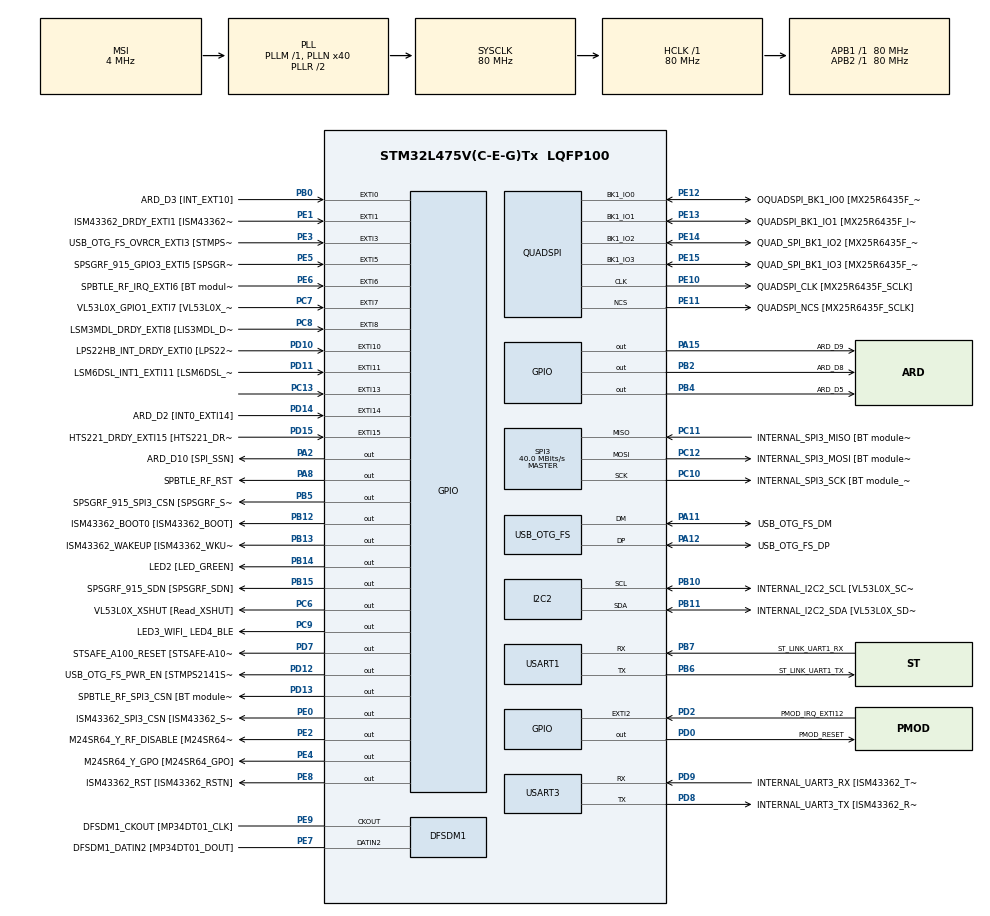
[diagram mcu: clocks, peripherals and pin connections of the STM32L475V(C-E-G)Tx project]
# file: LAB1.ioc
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FREERTOS.BinarySemaphores01=shortpress,Dynamic,NULL,Depleted;timerforblink,Dynamic,NULL,Depleted;longpress,Dynamic,NULL,Depleted;pressdetect,Dynamic,NULL,Depleted
FREERTOS.CountingSemaphores01=myCountingSem01,2,Dynamic,NULL,0
FREERTOS.Mutexes01=blinking,Dynamic,NULL,Available
FREERTOS.Queues01=pressforblink,1,uint16_t,0,Dynamic,NULL,NULL
FREERTOS.Tasks01=PressBlink,24,128,StartPressBlink,Default,NULL,Dynamic,NULL,NULL;timerBlink,8,128,StartTimerBlink,Default,NULL,Dynamic,NULL,NULL;detectButton,8,128,StartDetectButton,Default,NULL,Dynamic,NULL,NULL
I2C2.Timing=0x10D19CE4
Mcu.Family=STM32L4
Mcu.Name=STM32L475V(C-E-G)Tx
Mcu.Package=LQFP100
NVIC.EXTI15_10_IRQn=true\:5\:0\:true\:false\:true\:true\:true\:true\:true
NVIC.EXTI9_5_IRQn=true\:5\:0\:true\:false\:true\:true\:true\:true\:true
NVIC.PriorityGroup=NVIC_PRIORITYGROUP_4
NVIC.TIM6_DAC_IRQn=true\:5\:0\:false\:false\:true\:true\:true\:true\:true
PA0.GPIO_Label=ARD_D1 [UART4_TX]
PA0.Signal=UART4_TX
PA1.GPIO_Label=ARD_D0 [UART4_RX]
PA1.Signal=UART4_RX
PA10.GPIO_Label=USB_OTG_FS_ID
PA10.Signal=USB_OTG_FS_ID
PA11.GPIO_Label=USB_OTG_FS_DM
PA11.Mode=Device_Only
PA11.Signal=USB_OTG_FS_DM
PA12.GPIO_Label=USB_OTG_FS_DP
PA12.Mode=Device_Only
PA12.Signal=USB_OTG_FS_DP
PA13\ (JTMS-SWDIO).GPIO_Label=SYS_JTMS_SWDIO
PA13\ (JTMS-SWDIO).Mode=Serial_Wire
PA13\ (JTMS-SWDIO).Signal=SYS_JTMS-SWDIO
PA14\ (JTCK-SWCLK).GPIO_Label=SYS_JTCK_SWCLK
PA14\ (JTCK-SWCLK).Mode=Serial_Wire
PA14\ (JTCK-SWCLK).Signal=SYS_JTCK-SWCLK
PA15\ (JTDI).GPIO_Label=ARD_D9
PA15\ (JTDI).Signal=GPIO_Output
PA2.GPIO_Label=ARD_D10 [SPI_SSN]
PA2.Signal=GPIO_Output
PA3.GPIO_Label=ARD_D4
PA3.Signal=S_TIM2_CH4
PA4.GPIO_Label=ARD_D7
PA4.Signal=ADCx_IN9
PA5.GPIO_Label=ARD_D13 [SPI1_SCK]
PA5.Signal=SPI1_SCK
PA6.GPIO_Label=ARD_D12 [SPI1_MISO]
PA6.Signal=SPI1_MISO
PA7.GPIO_Label=ARD_D11 [SPI1_MOSI]
PA7.Signal=SPI1_MOSI
PA8.GPIO_Label=SPBTLE_RF_RST
PA8.Signal=GPIO_Output
PA9.GPIO_Label=USB_OTG_FS_VBUS [STMPS2141STR_OUT]
PA9.Signal=USB_OTG_FS_VBUS
PB0.GPIO_Label=ARD_D3 [INT_EXT10]
PB0.Signal=GPXTI0
PB1.GPIO_Label=ARD_D6 [ADC1_IN6]
PB1.Signal=ADCx_IN16
PB10.GPIO_Label=INTERNAL_I2C2_SCL [VL53L0X_SCL]
PB10.GPIO_Pu=GPIO_PULLUP
PB10.Mode=I2C
PB10.Signal=I2C2_SCL
PB11.GPIO_Label=INTERNAL_I2C2_SDA [VL53L0X_SDA]
PB11.GPIO_Pu=GPIO_PULLUP
PB11.Mode=I2C
PB11.Signal=I2C2_SDA
PB12.GPIO_Label=ISM43362_BOOT0 [ISM43362_BOOT]
PB12.Signal=GPIO_Output
PB13.GPIO_Label=ISM43362_WAKEUP [ISM43362_WKUP]
PB13.Signal=GPIO_Output
PB14.GPIO_Label=LED2 [LED_GREEN]
PB14.Signal=GPIO_Output
PB15.GPIO_Label=SPSGRF_915_SDN [SPSGRF_SDN]
PB15.Signal=GPIO_Output
PB2.GPIO_Label=ARD_D8
PB2.Signal=GPIO_Output
PB3\ (JTDO-TRACESWO).GPIO_Label=SYS_JTD0_SWO
PB3\ (JTDO-TRACESWO).Signal=SYS_JTDO-SWO
PB4\ (NJTRST).GPIO_Label=ARD_D5
PB4\ (NJTRST).Signal=GPIO_Output
PB5.GPIO_Label=SPSGRF_915_SPI3_CSN [SPSGRF_SPI_CS]
PB5.PinState=GPIO_PIN_SET
PB5.Signal=GPIO_Output
PB6.GPIO_Label=ST_LINK_UART1_TX
PB6.Mode=Asynchronous
PB6.Signal=USART1_TX
PB7.GPIO_Label=ST_LINK_UART1_RX
PB7.Mode=Asynchronous
PB7.Signal=USART1_RX
PB8.GPIO_Label=ARD_D15 [I2C1_SCL]
PB8.Signal=I2C1_SCL
PB9.GPIO_Label=ARD_D14 [I2C1_SDA]
PB9.Signal=I2C1_SDA
PC0.GPIO_Label=ARD_A5 [ADC]
PC0.Signal=ADCx_IN1
PC1.GPIO_Label=ARD_A4 [ADC]
PC1.Signal=ADCx_IN2
PC10.GPIO_Label=INTERNAL_SPI3_SCK [BT module_SPI_SCLK] [ISM43362_SCK]
PC10.Mode=Full_Duplex_Master
PC10.Signal=SPI3_SCK
PC11.GPIO_Label=INTERNAL_SPI3_MISO [BT module_SPI_MISO] [ISM43362_MISO]
PC11.Mode=Full_Duplex_Master
PC11.Signal=SPI3_MISO
PC12.GPIO_Label=INTERNAL_SPI3_MOSI [BT module_SPI_MOSI] [ISM43362_MOSI]
PC12.Mode=Full_Duplex_Master
PC12.Signal=SPI3_MOSI
PC13.GPIO_ModeDefaultEXTI=GPIO_MODE_IT_FALLING
PC13.GPIO_PuPd=GPIO_NOPULL
PC13.Signal=GPXTI13
PC14-OSC32_IN\ (PC14).Mode=LSE-External-Oscillator
PC14-OSC32_IN\ (PC14).Signal=RCC_OSC32_IN
PC15-OSC32_OUT\ (PC15).Mode=LSE-External-Oscillator
PC15-OSC32_OUT\ (PC15).Signal=RCC_OSC32_OUT
PC2.GPIO_Label=ARD_A3 [ADC]
PC2.Signal=ADCx_IN3
PC3.GPIO_Label=ARD_A2 [ADC]
PC3.Signal=ADCx_IN4
PC4.GPIO_Label=ARD_A1 [ADC]
PC4.Signal=ADCx_IN13
PC5.GPIO_Label=ARD_A0 [ADC]
PC5.Signal=ADCx_IN14
PC6.GPIO_Label=VL53L0X_XSHUT [Read_XSHUT]
PC6.Signal=GPIO_Output
PC7.GPIO_Label=VL53L0X_GPIO1_EXTI7 [VL53L0X_GPIO1]
PC7.Signal=GPXTI7
PC8.GPIO_Label=LSM3MDL_DRDY_EXTI8 [LIS3MDL_DRDY]
PC8.Signal=GPXTI8
PC9.GPIO_Label=LED3_WIFI_ LED4_BLE
PC9.Signal=GPIO_Output
PD0.GPIO_Label=PMOD_RESET
PD0.Signal=GPIO_Output
PD1.GPIO_Label=PMOD_SPI2_SCK
PD1.Signal=SPI2_SCK
PD10.GPIO_Label=LPS22HB_INT_DRDY_EXTI0 [LPS22HB_INT_DRDY] 
PD10.Signal=GPXTI10
PD11.GPIO_Label=LSM6DSL_INT1_EXTI11 [LSM6DSL_INT1]
PD11.Signal=GPXTI11
PD12.GPIO_Label=USB_OTG_FS_PWR_EN [STMPS2141STR_EN]
PD12.Signal=GPIO_Output
PD13.GPIO_Label=SPBTLE_RF_SPI3_CSN [BT module_SPI_CS]
PD13.PinState=GPIO_PIN_SET
PD13.Signal=GPIO_Output
PD14.GPIO_Label=ARD_D2 [INT0_EXTI14]
PD14.Signal=GPXTI14
PD15.GPIO_Label=HTS221_DRDY_EXTI15 [HTS221_DRDY]
PD15.Signal=GPXTI15
PD2.GPIO_Label=PMOD_IRQ_EXTI12
PD2.Signal=GPXTI2
PD3.GPIO_Label=PMOD_UART2_CTS
PD3.Signal=USART2_CTS
PD4.GPIO_Label=PMOD_UART2_RTS
PD4.Signal=USART2_RTS
PD5.GPIO_Label=PMOD_UART2_TX
PD5.Signal=USART2_TX
PD6.GPIO_Label=PMOD_UART2_RX
PD6.Signal=USART2_RX
PD7.GPIO_Label=STSAFE_A100_RESET [STSAFE-A100_RESET]
PD7.Signal=GPIO_Output
PD8.GPIO_Label=INTERNAL_UART3_TX [ISM43362_RX]
PD8.Mode=Asynchronous
PD8.Signal=USART3_TX
PD9.GPIO_Label=INTERNAL_UART3_RX [ISM43362_TX]
PD9.Mode=Asynchronous
PD9.Signal=USART3_RX
PE0.GPIO_Label=ISM43362_SPI3_CSN [ISM43362_SSN]
PE0.PinState=GPIO_PIN_SET
PE0.Signal=GPIO_Output
PE1.GPIO_Label=ISM43362_DRDY_EXTI1 [ISM43362_DATARDY]
PE1.Signal=GPXTI1
PE10.GPIO_Label=QUADSPI_CLK [MX25R6435F_SCLK]
PE10.Mode=Single Bank
PE10.Signal=QUADSPI_CLK
PE11.GPIO_Label=QUADSPI_NCS [MX25R6435F_SCLK]
PE11.Mode=Single Bank
PE11.Signal=QUADSPI_NCS
PE12.GPIO_Label=OQUADSPI_BK1_IO0 [MX25R6435F_IO0]
PE12.Mode=Single Bank
PE12.Signal=QUADSPI_BK1_IO0
PE13.GPIO_Label=QUADSPI_BK1_IO1 [MX25R6435F_IO1]
PE13.Mode=Single Bank
PE13.Signal=QUADSPI_BK1_IO1
PE14.GPIO_Label=QUAD_SPI_BK1_IO2 [MX25R6435F_IO2]
PE14.Mode=Single Bank
PE14.Signal=QUADSPI_BK1_IO2
PE15.GPIO_Label=QUAD_SPI_BK1_IO3 [MX25R6435F_IO3]
PE15.Mode=Single Bank
PE15.Signal=QUADSPI_BK1_IO3
PE2.GPIO_Label=M24SR64_Y_RF_DISABLE [M24SR64_RFDIS]
PE2.Signal=GPIO_Output
PE3.GPIO_Label=USB_OTG_FS_OVRCR_EXTI3 [STMPS2141STR_FAULT]
PE3.Signal=GPXTI3
PE4.GPIO_Label=M24SR64_Y_GPO [M24SR64_GPO]
PE4.Signal=GPIO_Output
PE5.GPIO_Label=SPSGRF_915_GPIO3_EXTI5 [SPSGRF_GPIO_3]
PE5.Signal=GPXTI5
PE6.GPIO_Label=SPBTLE_RF_IRQ_EXTI6 [BT module_SPI_IRQ]
PE6.Signal=GPXTI6
PE7.GPIO_Label=DFSDM1_DATIN2 [MP34DT01_DOUT]
PE7.Signal=S_DATAIN2DFSDM1
PE8.GPIO_Label=ISM43362_RST [ISM43362_RSTN]
PE8.Signal=GPIO_Output
PE9.GPIO_Label=DFSDM1_CKOUT [MP34DT01_CLK]
PE9.Signal=S_CKOUTDFSDM1
ProjectManager.HeapSize=0x200
ProjectManager.StackSize=0x400
ProjectManager.TargetToolchain=STM32CubeIDE
QUADSPI.ClockPrescaler=2
QUADSPI.FifoThreshold=4
QUADSPI.FlashSize=23
QUADSPI.SampleShifting=QSPI_SAMPLE_SHIFTING_HALFCYCLE
RCC.ADCFreq_Value=48000000
RCC.AHBFreq_Value=80000000
RCC.APB1Freq_Value=80000000
RCC.APB1TimFreq_Value=80000000
RCC.APB2Freq_Value=80000000
RCC.APB2TimFreq_Value=80000000
RCC.CortexFreq_Value=80000000
RCC.HCLKFreq_Value=80000000
RCC.HSE_VALUE=8000000
RCC.HSI_VALUE=16000000
RCC.MSI_VALUE=4000000
RCC.PLLN=40
RCC.PLLSAI1N=24
RCC.SYSCLKFreq_VALUE=80000000
RCC.SYSCLKSource=RCC_SYSCLKSOURCE_PLLCLK
RCC.USBFreq_Value=48000000
RCC.VCOOutputFreq_Value=160000000
SH.ADCx_IN1.0=ADC1_IN1
SH.ADCx_IN13.0=ADC1_IN13
SH.ADCx_IN14.0=ADC1_IN14
SH.ADCx_IN16.0=ADC1_IN16
SH.ADCx_IN2.0=ADC1_IN2
SH.ADCx_IN3.0=ADC1_IN3
SH.ADCx_IN4.0=ADC1_IN4
SH.ADCx_IN9.0=ADC1_IN9
SH.S_CKOUTDFSDM1.0=DFSDM1_CKOUT,CKOUT
SH.S_CKOUTDFSDM1.1=DFSDM1_CKOUT,PDM_SPI_Input_from_ch12_and_Internal_Clock
SH.S_DATAIN2DFSDM1.0=DFSDM1_DATIN2,PDM_SPI_Input_from_ch12_and_Internal_Clock
SH.S_TIM2_CH4.0=TIM2_CH4
SPI3.CalculateBaudRate=40.0 MBits/s
SPI3.Direction=SPI_DIRECTION_2LINES
SPI3.Mode=SPI_MODE_MASTER
SPI3.VirtualType=VM_MASTER
TIM6.AutoReloadPreload=TIM_AUTORELOAD_PRELOAD_ENABLE
TIM6.Period=15999
TIM6.Prescaler=49999
USART1.VirtualMode-Asynchronous=VM_ASYNC
USART3.VirtualMode-Asynchronous=VM_ASYNC
USB_OTG_FS.VirtualMode=Device_Only
VP_FREERTOS_VS_CMSIS_V2.Mode=CMSIS_V2
VP_TIM6_VS_ClockSourceINT.Mode=Enable_Timer
board=B-L475E-IOT01A2

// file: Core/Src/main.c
/* USER CODE BEGIN Header */
/**
  ******************************************************************************
  * @file           : main.c
  * @brief          : Main program body
  ******************************************************************************
  * @attention
  *
  * Copyright (c) 2024 STMicroelectronics.
  * All rights reserved.
  *
  * This software is licensed under terms that can be found in the LICENSE file
  * in the root directory of this software component.
  * If no LICENSE file comes with this software, it is provided AS-IS.
  *
  ******************************************************************************
  */
/* USER CODE END Header */
#include "main.h"
#include "cmsis_os.h"

DFSDM_Channel_HandleTypeDef hdfsdm1_channel1;

I2C_HandleTypeDef hi2c2;

QSPI_HandleTypeDef hqspi;

SPI_HandleTypeDef hspi3;

TIM_HandleTypeDef htim6;

UART_HandleTypeDef huart1;
UART_HandleTypeDef huart3;

PCD_HandleTypeDef hpcd_USB_OTG_FS;

/* Definitions for PressBlink */
osThreadId_t PressBlinkHandle;
const osThreadAttr_t PressBlink_attributes = {
  .name = "PressBlink",
  .stack_size = 128 * 4,
  .priority = (osPriority_t) osPriorityNormal,
};
/* Definitions for timerBlink */
osThreadId_t timerBlinkHandle;
const osThreadAttr_t timerBlink_attributes = {
  .name = "timerBlink",
  .stack_size = 128 * 4,
  .priority = (osPriority_t) osPriorityLow,
};
/* Definitions for detectButton */
osThreadId_t detectButtonHandle;
const osThreadAttr_t detectButton_attributes = {
  .name = "detectButton",
  .stack_size = 128 * 4,
  .priority = (osPriority_t) osPriorityLow,
};
/* Definitions for pressforblink */
osMessageQueueId_t pressforblinkHandle;
const osMessageQueueAttr_t pressforblink_attributes = {
  .name = "pressforblink"
};
/* Definitions for blinking */
osMutexId_t blinkingHandle;
const osMutexAttr_t blinking_attributes = {
  .name = "blinking"
};
/* Definitions for shortpress */
osSemaphoreId_t shortpressHandle;
const osSemaphoreAttr_t shortpress_attributes = {
  .name = "shortpress"
};
/* Definitions for timerforblink */
osSemaphoreId_t timerforblinkHandle;
const osSemaphoreAttr_t timerforblink_attributes = {
  .name = "timerforblink"
};
/* Definitions for longpress */
osSemaphoreId_t longpressHandle;
const osSemaphoreAttr_t longpress_attributes = {
  .name = "longpress"
};
/* Definitions for pressdetect */
osSemaphoreId_t pressdetectHandle;
const osSemaphoreAttr_t pressdetect_attributes = {
  .name = "pressdetect"
};
/* Definitions for myCountingSem01 */
osSemaphoreId_t myCountingSem01Handle;
const osSemaphoreAttr_t myCountingSem01_attributes = {
  .name = "myCountingSem01"
};

void SystemClock_Config(void);
static void MX_GPIO_Init(void);
static void MX_DFSDM1_Init(void);
static void MX_I2C2_Init(void);
static void MX_QUADSPI_Init(void);
static void MX_SPI3_Init(void);
static void MX_USART1_UART_Init(void);
static void MX_USART3_UART_Init(void);
static void MX_USB_OTG_FS_PCD_Init(void);
static void MX_TIM6_Init(void);
void StartPressBlink(void *argument);
void StartTimerBlink(void *argument);
void StartDetectButton(void *argument);

int main(void)
{

  /* MCU Configuration--------------------------------------------------------*/

  /* Reset of all peripherals, Initializes the Flash interface and the Systick. */
  HAL_Init();

  /* Configure the system clock */
  SystemClock_Config();

  /* Initialize all configured peripherals */
  MX_GPIO_Init();
  MX_DFSDM1_Init();
  MX_I2C2_Init();
  MX_QUADSPI_Init();
  MX_SPI3_Init();
  MX_USART1_UART_Init();
  MX_USART3_UART_Init();
  MX_USB_OTG_FS_PCD_Init();
  MX_TIM6_Init();

  /* Init scheduler */
  osKernelInitialize();
  /* Create the mutex(es) */
  /* creation of blinking */
  blinkingHandle = osMutexNew(&blinking_attributes);

  /* Create the semaphores(s) */
  /* creation of shortpress */
  shortpressHandle = osSemaphoreNew(1, 0, &shortpress_attributes);

  /* creation of timerforblink */
  timerforblinkHandle = osSemaphoreNew(1, 0, &timerforblink_attributes);

  /* creation of longpress */
  longpressHandle = osSemaphoreNew(1, 0, &longpress_attributes);

  /* creation of pressdetect */
  pressdetectHandle = osSemaphoreNew(1, 0, &pressdetect_attributes);

  /* creation of myCountingSem01 */
  myCountingSem01Handle = osSemaphoreNew(2, 0, &myCountingSem01_attributes);

  /* USER CODE BEGIN RTOS_TIMERS */
  /* start timers, add new ones, ... */
  HAL_TIM_Base_Start_IT(&htim6);
  /* USER CODE END RTOS_TIMERS */

  /* Create the queue(s) */
  /* creation of pressforblink */
  pressforblinkHandle = osMessageQueueNew (1, sizeof(uint16_t), &pressforblink_attributes);

  /* Create the thread(s) */
  /* creation of PressBlink */
  PressBlinkHandle = osThreadNew(StartPressBlink, NULL, &PressBlink_attributes);

  /* creation of timerBlink */
  timerBlinkHandle = osThreadNew(StartTimerBlink, NULL, &timerBlink_attributes);

  /* creation of detectButton */
  detectButtonHandle = osThreadNew(StartDetectButton, NULL, &detectButton_attributes);

  /* Start scheduler */
  osKernelStart();

  /* We should never get here as control is now taken by the scheduler */

  /* Infinite loop */
  while (1)
  {

  }
}

void SystemClock_Config(void)
{
  RCC_OscInitTypeDef RCC_OscInitStruct = {0};
  RCC_ClkInitTypeDef RCC_ClkInitStruct = {0};

  /** Configure the main internal regulator output voltage
  */
  if (HAL_PWREx_ControlVoltageScaling(PWR_REGULATOR_VOLTAGE_SCALE1) != HAL_OK)
  {
    Error_Handler();
  }

  /** Configure LSE Drive Capability
  */
  HAL_PWR_EnableBkUpAccess();
  __HAL_RCC_LSEDRIVE_CONFIG(RCC_LSEDRIVE_LOW);

  /** Initializes the RCC Oscillators according to the specified parameters
  * in the RCC_OscInitTypeDef structure.
  */
  RCC_OscInitStruct.OscillatorType = RCC_OSCILLATORTYPE_LSE|RCC_OSCILLATORTYPE_MSI;
  RCC_OscInitStruct.LSEState = RCC_LSE_ON;
  RCC_OscInitStruct.MSIState = RCC_MSI_ON;
  RCC_OscInitStruct.MSICalibrationValue = 0;
  RCC_OscInitStruct.MSIClockRange = RCC_MSIRANGE_6;
  RCC_OscInitStruct.PLL.PLLState = RCC_PLL_ON;
  RCC_OscInitStruct.PLL.PLLSource = RCC_PLLSOURCE_MSI;
  RCC_OscInitStruct.PLL.PLLM = 1;
  RCC_OscInitStruct.PLL.PLLN = 40;
  RCC_OscInitStruct.PLL.PLLP = RCC_PLLP_DIV7;
  RCC_OscInitStruct.PLL.PLLQ = RCC_PLLQ_DIV2;
  RCC_OscInitStruct.PLL.PLLR = RCC_PLLR_DIV2;
  if (HAL_RCC_OscConfig(&RCC_OscInitStruct) != HAL_OK)
  {
    Error_Handler();
  }

  /** Initializes the CPU, AHB and APB buses clocks
  */
  RCC_ClkInitStruct.ClockType = RCC_CLOCKTYPE_HCLK|RCC_CLOCKTYPE_SYSCLK
                              |RCC_CLOCKTYPE_PCLK1|RCC_CLOCKTYPE_PCLK2;
  RCC_ClkInitStruct.SYSCLKSource = RCC_SYSCLKSOURCE_PLLCLK;
  RCC_ClkInitStruct.AHBCLKDivider = RCC_SYSCLK_DIV1;
  RCC_ClkInitStruct.APB1CLKDivider = RCC_HCLK_DIV1;
  RCC_ClkInitStruct.APB2CLKDivider = RCC_HCLK_DIV1;

  if (HAL_RCC_ClockConfig(&RCC_ClkInitStruct, FLASH_LATENCY_4) != HAL_OK)
  {
    Error_Handler();
  }

  /** Enable MSI Auto calibration
  */
  HAL_RCCEx_EnableMSIPLLMode();
}

static void MX_DFSDM1_Init(void)
{

  hdfsdm1_channel1.Instance = DFSDM1_Channel1;
  hdfsdm1_channel1.Init.OutputClock.Activation = ENABLE;
  hdfsdm1_channel1.Init.OutputClock.Selection = DFSDM_CHANNEL_OUTPUT_CLOCK_SYSTEM;
  hdfsdm1_channel1.Init.OutputClock.Divider = 2;
  hdfsdm1_channel1.Init.Input.Multiplexer = DFSDM_CHANNEL_EXTERNAL_INPUTS;
  hdfsdm1_channel1.Init.Input.DataPacking = DFSDM_CHANNEL_STANDARD_MODE;
  hdfsdm1_channel1.Init.Input.Pins = DFSDM_CHANNEL_FOLLOWING_CHANNEL_PINS;
  hdfsdm1_channel1.Init.SerialInterface.Type = DFSDM_CHANNEL_SPI_RISING;
  hdfsdm1_channel1.Init.SerialInterface.SpiClock = DFSDM_CHANNEL_SPI_CLOCK_INTERNAL;
  hdfsdm1_channel1.Init.Awd.FilterOrder = DFSDM_CHANNEL_FASTSINC_ORDER;
  hdfsdm1_channel1.Init.Awd.Oversampling = 1;
  hdfsdm1_channel1.Init.Offset = 0;
  hdfsdm1_channel1.Init.RightBitShift = 0x00;
  if (HAL_DFSDM_ChannelInit(&hdfsdm1_channel1) != HAL_OK)
  {
    Error_Handler();
  }

}

static void MX_I2C2_Init(void)
{

  hi2c2.Instance = I2C2;
  hi2c2.Init.Timing = 0x10D19CE4;
  hi2c2.Init.OwnAddress1 = 0;
  hi2c2.Init.AddressingMode = I2C_ADDRESSINGMODE_7BIT;
  hi2c2.Init.DualAddressMode = I2C_DUALADDRESS_DISABLE;
  hi2c2.Init.OwnAddress2 = 0;
  hi2c2.Init.OwnAddress2Masks = I2C_OA2_NOMASK;
  hi2c2.Init.GeneralCallMode = I2C_GENERALCALL_DISABLE;
  hi2c2.Init.NoStretchMode = I2C_NOSTRETCH_DISABLE;
  if (HAL_I2C_Init(&hi2c2) != HAL_OK)
  {
    Error_Handler();
  }

  /** Configure Analogue filter
  */
  if (HAL_I2CEx_ConfigAnalogFilter(&hi2c2, I2C_ANALOGFILTER_ENABLE) != HAL_OK)
  {
    Error_Handler();
  }

  /** Configure Digital filter
  */
  if (HAL_I2CEx_ConfigDigitalFilter(&hi2c2, 0) != HAL_OK)
  {
    Error_Handler();
  }

}

static void MX_QUADSPI_Init(void)
{

  /* QUADSPI parameter configuration*/
  hqspi.Instance = QUADSPI;
  hqspi.Init.ClockPrescaler = 2;
  hqspi.Init.FifoThreshold = 4;
  hqspi.Init.SampleShifting = QSPI_SAMPLE_SHIFTING_HALFCYCLE;
  hqspi.Init.FlashSize = 23;
  hqspi.Init.ChipSelectHighTime = QSPI_CS_HIGH_TIME_1_CYCLE;
  hqspi.Init.ClockMode = QSPI_CLOCK_MODE_0;
  if (HAL_QSPI_Init(&hqspi) != HAL_OK)
  {
    Error_Handler();
  }

}

static void MX_SPI3_Init(void)
{

  /* SPI3 parameter configuration*/
  hspi3.Instance = SPI3;
  hspi3.Init.Mode = SPI_MODE_MASTER;
  hspi3.Init.Direction = SPI_DIRECTION_2LINES;
  hspi3.Init.DataSize = SPI_DATASIZE_4BIT;
  hspi3.Init.CLKPolarity = SPI_POLARITY_LOW;
  hspi3.Init.CLKPhase = SPI_PHASE_1EDGE;
  hspi3.Init.NSS = SPI_NSS_SOFT;
  hspi3.Init.BaudRatePrescaler = SPI_BAUDRATEPRESCALER_2;
  hspi3.Init.FirstBit = SPI_FIRSTBIT_MSB;
  hspi3.Init.TIMode = SPI_TIMODE_DISABLE;
  hspi3.Init.CRCCalculation = SPI_CRCCALCULATION_DISABLE;
  hspi3.Init.CRCPolynomial = 7;
  hspi3.Init.CRCLength = SPI_CRC_LENGTH_DATASIZE;
  hspi3.Init.NSSPMode = SPI_NSS_PULSE_ENABLE;
  if (HAL_SPI_Init(&hspi3) != HAL_OK)
  {
    Error_Handler();
  }

}

static void MX_TIM6_Init(void)
{

  TIM_MasterConfigTypeDef sMasterConfig = {0};

  htim6.Instance = TIM6;
  htim6.Init.Prescaler = 49999;
  htim6.Init.CounterMode = TIM_COUNTERMODE_UP;
  htim6.Init.Period = 15999;
  htim6.Init.AutoReloadPreload = TIM_AUTORELOAD_PRELOAD_ENABLE;
  if (HAL_TIM_Base_Init(&htim6) != HAL_OK)
  {
    Error_Handler();
  }
  sMasterConfig.MasterOutputTrigger = TIM_TRGO_RESET;
  sMasterConfig.MasterSlaveMode = TIM_MASTERSLAVEMODE_DISABLE;
  if (HAL_TIMEx_MasterConfigSynchronization(&htim6, &sMasterConfig) != HAL_OK)
  {
    Error_Handler();
  }

}

static void MX_USART1_UART_Init(void)
{

  huart1.Instance = USART1;
  huart1.Init.BaudRate = 115200;
  huart1.Init.WordLength = UART_WORDLENGTH_8B;
  huart1.Init.StopBits = UART_STOPBITS_1;
  huart1.Init.Parity = UART_PARITY_NONE;
  huart1.Init.Mode = UART_MODE_TX_RX;
  huart1.Init.HwFlowCtl = UART_HWCONTROL_NONE;
  huart1.Init.OverSampling = UART_OVERSAMPLING_16;
  huart1.Init.OneBitSampling = UART_ONE_BIT_SAMPLE_DISABLE;
  huart1.AdvancedInit.AdvFeatureInit = UART_ADVFEATURE_NO_INIT;
  if (HAL_UART_Init(&huart1) != HAL_OK)
  {
    Error_Handler();
  }

}

static void MX_USART3_UART_Init(void)
{

  huart3.Instance = USART3;
  huart3.Init.BaudRate = 115200;
  huart3.Init.WordLength = UART_WORDLENGTH_8B;
  huart3.Init.StopBits = UART_STOPBITS_1;
  huart3.Init.Parity = UART_PARITY_NONE;
  huart3.Init.Mode = UART_MODE_TX_RX;
  huart3.Init.HwFlowCtl = UART_HWCONTROL_NONE;
  huart3.Init.OverSampling = UART_OVERSAMPLING_16;
  huart3.Init.OneBitSampling = UART_ONE_BIT_SAMPLE_DISABLE;
  huart3.AdvancedInit.AdvFeatureInit = UART_ADVFEATURE_NO_INIT;
  if (HAL_UART_Init(&huart3) != HAL_OK)
  {
    Error_Handler();
  }

}

static void MX_USB_OTG_FS_PCD_Init(void)
{

  hpcd_USB_OTG_FS.Instance = USB_OTG_FS;
  hpcd_USB_OTG_FS.Init.dev_endpoints = 6;
  hpcd_USB_OTG_FS.Init.speed = PCD_SPEED_FULL;
  hpcd_USB_OTG_FS.Init.phy_itface = PCD_PHY_EMBEDDED;
  hpcd_USB_OTG_FS.Init.Sof_enable = DISABLE;
  hpcd_USB_OTG_FS.Init.low_power_enable = DISABLE;
  hpcd_USB_OTG_FS.Init.lpm_enable = DISABLE;
  hpcd_USB_OTG_FS.Init.battery_charging_enable = DISABLE;
  hpcd_USB_OTG_FS.Init.use_dedicated_ep1 = DISABLE;
  hpcd_USB_OTG_FS.Init.vbus_sensing_enable = DISABLE;
  if (HAL_PCD_Init(&hpcd_USB_OTG_FS) != HAL_OK)
  {
    Error_Handler();
  }

}

static void MX_GPIO_Init(void)
{
  GPIO_InitTypeDef GPIO_InitStruct = {0};

  /* GPIO Ports Clock Enable */
  __HAL_RCC_GPIOE_CLK_ENABLE();
  __HAL_RCC_GPIOC_CLK_ENABLE();
  __HAL_RCC_GPIOA_CLK_ENABLE();
  __HAL_RCC_GPIOB_CLK_ENABLE();
  __HAL_RCC_GPIOD_CLK_ENABLE();

  /*Configure GPIO pin Output Level */
  HAL_GPIO_WritePin(GPIOE, M24SR64_Y_RF_DISABLE_Pin|M24SR64_Y_GPO_Pin|ISM43362_RST_Pin, GPIO_PIN_RESET);

  /*Configure GPIO pin Output Level */
  HAL_GPIO_WritePin(GPIOA, ARD_D10_Pin|SPBTLE_RF_RST_Pin|ARD_D9_Pin, GPIO_PIN_RESET);

  /*Configure GPIO pin Output Level */
  HAL_GPIO_WritePin(GPIOB, ARD_D8_Pin|ISM43362_BOOT0_Pin|ISM43362_WAKEUP_Pin|LED2_Pin
                          |SPSGRF_915_SDN_Pin|ARD_D5_Pin, GPIO_PIN_RESET);

  /*Configure GPIO pin Output Level */
  HAL_GPIO_WritePin(GPIOD, USB_OTG_FS_PWR_EN_Pin|PMOD_RESET_Pin|STSAFE_A100_RESET_Pin, GPIO_PIN_RESET);

  /*Configure GPIO pin Output Level */
  HAL_GPIO_WritePin(SPBTLE_RF_SPI3_CSN_GPIO_Port, SPBTLE_RF_SPI3_CSN_Pin, GPIO_PIN_SET);

  /*Configure GPIO pin Output Level */
  HAL_GPIO_WritePin(GPIOC, VL53L0X_XSHUT_Pin|LED3_WIFI__LED4_BLE_Pin, GPIO_PIN_RESET);

  /*Configure GPIO pin Output Level */
  HAL_GPIO_WritePin(SPSGRF_915_SPI3_CSN_GPIO_Port, SPSGRF_915_SPI3_CSN_Pin, GPIO_PIN_SET);

  /*Configure GPIO pin Output Level */
  HAL_GPIO_WritePin(ISM43362_SPI3_CSN_GPIO_Port, ISM43362_SPI3_CSN_Pin, GPIO_PIN_SET);

  /*Configure GPIO pins : M24SR64_Y_RF_DISABLE_Pin M24SR64_Y_GPO_Pin ISM43362_RST_Pin ISM43362_SPI3_CSN_Pin */
  GPIO_InitStruct.Pin = M24SR64_Y_RF_DISABLE_Pin|M24SR64_Y_GPO_Pin|ISM43362_RST_Pin|ISM43362_SPI3_CSN_Pin;
  GPIO_InitStruct.Mode = GPIO_MODE_OUTPUT_PP;
  GPIO_InitStruct.Pull = GPIO_NOPULL;
  GPIO_InitStruct.Speed = GPIO_SPEED_FREQ_LOW;
  HAL_GPIO_Init(GPIOE, &GPIO_InitStruct);

  /*Configure GPIO pins : USB_OTG_FS_OVRCR_EXTI3_Pin SPSGRF_915_GPIO3_EXTI5_Pin SPBTLE_RF_IRQ_EXTI6_Pin ISM43362_DRDY_EXTI1_Pin */
  GPIO_InitStruct.Pin = USB_OTG_FS_OVRCR_EXTI3_Pin|SPSGRF_915_GPIO3_EXTI5_Pin|SPBTLE_RF_IRQ_EXTI6_Pin|ISM43362_DRDY_EXTI1_Pin;
  GPIO_InitStruct.Mode = GPIO_MODE_IT_RISING;
  GPIO_InitStruct.Pull = GPIO_NOPULL;
  HAL_GPIO_Init(GPIOE, &GPIO_InitStruct);

  /*Configure GPIO pin : PC13 */
  GPIO_InitStruct.Pin = GPIO_PIN_13;
  GPIO_InitStruct.Mode = GPIO_MODE_IT_FALLING;
  GPIO_InitStruct.Pull = GPIO_NOPULL;
  HAL_GPIO_Init(GPIOC, &GPIO_InitStruct);

  /*Configure GPIO pins : ARD_A5_Pin ARD_A4_Pin ARD_A3_Pin ARD_A2_Pin
                           ARD_A1_Pin ARD_A0_Pin */
  GPIO_InitStruct.Pin = ARD_A5_Pin|ARD_A4_Pin|ARD_A3_Pin|ARD_A2_Pin
                          |ARD_A1_Pin|ARD_A0_Pin;
  GPIO_InitStruct.Mode = GPIO_MODE_ANALOG_ADC_CONTROL;
  GPIO_InitStruct.Pull = GPIO_NOPULL;
  HAL_GPIO_Init(GPIOC, &GPIO_InitStruct);

  /*Configure GPIO pins : ARD_D1_Pin ARD_D0_Pin */
  GPIO_InitStruct.Pin = ARD_D1_Pin|ARD_D0_Pin;
  GPIO_InitStruct.Mode = GPIO_MODE_AF_PP;
  GPIO_InitStruct.Pull = GPIO_NOPULL;
  GPIO_InitStruct.Speed = GPIO_SPEED_FREQ_VERY_HIGH;
  GPIO_InitStruct.Alternate = GPIO_AF8_UART4;
  HAL_GPIO_Init(GPIOA, &GPIO_InitStruct);

  /*Configure GPIO pins : ARD_D10_Pin SPBTLE_RF_RST_Pin ARD_D9_Pin */
  GPIO_InitStruct.Pin = ARD_D10_Pin|SPBTLE_RF_RST_Pin|ARD_D9_Pin;
  GPIO_InitStruct.Mode = GPIO_MODE_OUTPUT_PP;
  GPIO_InitStruct.Pull = GPIO_NOPULL;
  GPIO_InitStruct.Speed = GPIO_SPEED_FREQ_LOW;
  HAL_GPIO_Init(GPIOA, &GPIO_InitStruct);

  /*Configure GPIO pin : ARD_D4_Pin */
  GPIO_InitStruct.Pin = ARD_D4_Pin;
  GPIO_InitStruct.Mode = GPIO_MODE_AF_PP;
  GPIO_InitStruct.Pull = GPIO_NOPULL;
  GPIO_InitStruct.Speed = GPIO_SPEED_FREQ_LOW;
  GPIO_InitStruct.Alternate = GPIO_AF1_TIM2;
  HAL_GPIO_Init(ARD_D4_GPIO_Port, &GPIO_InitStruct);

  /*Configure GPIO pin : ARD_D7_Pin */
  GPIO_InitStruct.Pin = ARD_D7_Pin;
  GPIO_InitStruct.Mode = GPIO_MODE_ANALOG_ADC_CONTROL;
  GPIO_InitStruct.Pull = GPIO_NOPULL;
  HAL_GPIO_Init(ARD_D7_GPIO_Port, &GPIO_InitStruct);

  /*Configure GPIO pins : ARD_D13_Pin ARD_D12_Pin ARD_D11_Pin */
  GPIO_InitStruct.Pin = ARD_D13_Pin|ARD_D12_Pin|ARD_D11_Pin;
  GPIO_InitStruct.Mode = GPIO_MODE_AF_PP;
  GPIO_InitStruct.Pull = GPIO_NOPULL;
  GPIO_InitStruct.Speed = GPIO_SPEED_FREQ_VERY_HIGH;
  GPIO_InitStruct.Alternate = GPIO_AF5_SPI1;
  HAL_GPIO_Init(GPIOA, &GPIO_InitStruct);

  /*Configure GPIO pin : ARD_D3_Pin */
  GPIO_InitStruct.Pin = ARD_D3_Pin;
  GPIO_InitStruct.Mode = GPIO_MODE_IT_RISING;
  GPIO_InitStruct.Pull = GPIO_NOPULL;
  HAL_GPIO_Init(ARD_D3_GPIO_Port, &GPIO_InitStruct);

  /*Configure GPIO pin : ARD_D6_Pin */
  GPIO_InitStruct.Pin = ARD_D6_Pin;
  GPIO_InitStruct.Mode = GPIO_MODE_ANALOG_ADC_CONTROL;
  GPIO_InitStruct.Pull = GPIO_NOPULL;
  HAL_GPIO_Init(ARD_D6_GPIO_Port, &GPIO_InitStruct);

  /*Configure GPIO pins : ARD_D8_Pin ISM43362_BOOT0_Pin ISM43362_WAKEUP_Pin LED2_Pin
                           SPSGRF_915_SDN_Pin ARD_D5_Pin SPSGRF_915_SPI3_CSN_Pin */
  GPIO_InitStruct.Pin = ARD_D8_Pin|ISM43362_BOOT0_Pin|ISM43362_WAKEUP_Pin|LED2_Pin
                          |SPSGRF_915_SDN_Pin|ARD_D5_Pin|SPSGRF_915_SPI3_CSN_Pin;
  GPIO_InitStruct.Mode = GPIO_MODE_OUTPUT_PP;
  GPIO_InitStruct.Pull = GPIO_NOPULL;
  GPIO_InitStruct.Speed = GPIO_SPEED_FREQ_LOW;
  HAL_GPIO_Init(GPIOB, &GPIO_InitStruct);

  /*Configure GPIO pins : LPS22HB_INT_DRDY_EXTI0_Pin LSM6DSL_INT1_EXTI11_Pin ARD_D2_Pin HTS221_DRDY_EXTI15_Pin
                           PMOD_IRQ_EXTI12_Pin */
  GPIO_InitStruct.Pin = LPS22HB_INT_DRDY_EXTI0_Pin|LSM6DSL_INT1_EXTI11_Pin|ARD_D2_Pin|HTS221_DRDY_EXTI15_Pin
                          |PMOD_IRQ_EXTI12_Pin;
  GPIO_InitStruct.Mode = GPIO_MODE_IT_RISING;
  GPIO_InitStruct.Pull = GPIO_NOPULL;
  HAL_GPIO_Init(GPIOD, &GPIO_InitStruct);

  /*Configure GPIO pins : USB_OTG_FS_PWR_EN_Pin SPBTLE_RF_SPI3_CSN_Pin PMOD_RESET_Pin STSAFE_A100_RESET_Pin */
  GPIO_InitStruct.Pin = USB_OTG_FS_PWR_EN_Pin|SPBTLE_RF_SPI3_CSN_Pin|PMOD_RESET_Pin|STSAFE_A100_RESET_Pin;
  GPIO_InitStruct.Mode = GPIO_MODE_OUTPUT_PP;
  GPIO_InitStruct.Pull = GPIO_NOPULL;
  GPIO_InitStruct.Speed = GPIO_SPEED_FREQ_LOW;
  HAL_GPIO_Init(GPIOD, &GPIO_InitStruct);

  /*Configure GPIO pins : VL53L0X_XSHUT_Pin LED3_WIFI__LED4_BLE_Pin */
  GPIO_InitStruct.Pin = VL53L0X_XSHUT_Pin|LED3_WIFI__LED4_BLE_Pin;
  GPIO_InitStruct.Mode = GPIO_MODE_OUTPUT_PP;
  GPIO_InitStruct.Pull = GPIO_NOPULL;
  GPIO_InitStruct.Speed = GPIO_SPEED_FREQ_LOW;
  HAL_GPIO_Init(GPIOC, &GPIO_InitStruct);

  /*Configure GPIO pins : VL53L0X_GPIO1_EXTI7_Pin LSM3MDL_DRDY_EXTI8_Pin */
  GPIO_InitStruct.Pin = VL53L0X_GPIO1_EXTI7_Pin|LSM3MDL_DRDY_EXTI8_Pin;
  GPIO_InitStruct.Mode = GPIO_MODE_IT_RISING;
  GPIO_InitStruct.Pull = GPIO_NOPULL;
  HAL_GPIO_Init(GPIOC, &GPIO_InitStruct);

  /*Configure GPIO pin : PMOD_SPI2_SCK_Pin */
  GPIO_InitStruct.Pin = PMOD_SPI2_SCK_Pin;
  GPIO_InitStruct.Mode = GPIO_MODE_AF_PP;
  GPIO_InitStruct.Pull = GPIO_NOPULL;
  GPIO_InitStruct.Speed = GPIO_SPEED_FREQ_VERY_HIGH;
  GPIO_InitStruct.Alternate = GPIO_AF5_SPI2;
  HAL_GPIO_Init(PMOD_SPI2_SCK_GPIO_Port, &GPIO_InitStruct);

  /*Configure GPIO pins : PMOD_UART2_CTS_Pin PMOD_UART2_RTS_Pin PMOD_UART2_TX_Pin PMOD_UART2_RX_Pin */
  GPIO_InitStruct.Pin = PMOD_UART2_CTS_Pin|PMOD_UART2_RTS_Pin|PMOD_UART2_TX_Pin|PMOD_UART2_RX_Pin;
  GPIO_InitStruct.Mode = GPIO_MODE_AF_PP;
  GPIO_InitStruct.Pull = GPIO_NOPULL;
  GPIO_InitStruct.Speed = GPIO_SPEED_FREQ_VERY_HIGH;
  GPIO_InitStruct.Alternate = GPIO_AF7_USART2;
  HAL_GPIO_Init(GPIOD, &GPIO_InitStruct);

  /*Configure GPIO pins : ARD_D15_Pin ARD_D14_Pin */
  GPIO_InitStruct.Pin = ARD_D15_Pin|ARD_D14_Pin;
  GPIO_InitStruct.Mode = GPIO_MODE_AF_OD;
  GPIO_InitStruct.Pull = GPIO_NOPULL;
  GPIO_InitStruct.Speed = GPIO_SPEED_FREQ_VERY_HIGH;
  GPIO_InitStruct.Alternate = GPIO_AF4_I2C1;
  HAL_GPIO_Init(GPIOB, &GPIO_InitStruct);

  /* EXTI interrupt init*/
  HAL_NVIC_SetPriority(EXTI9_5_IRQn, 5, 0);
  HAL_NVIC_EnableIRQ(EXTI9_5_IRQn);

  HAL_NVIC_SetPriority(EXTI15_10_IRQn, 5, 0);
  HAL_NVIC_EnableIRQ(EXTI15_10_IRQn);

}

/* USER CODE BEGIN 4 */
void HAL_GPIO_EXTI_Callback(uint16_t GPIO_Pin)
{
  switch (GPIO_Pin)
  {
	  case GPIO_PIN_13:
		  {
			  osSemaphoreRelease(pressdetectHandle);
			  break;
		  }
	  default:
		  break;
  }
}

void HAL_TIM_PeriodElapsedCallback(TIM_HandleTypeDef *htim)
{
	if(htim == &htim6)
		osSemaphoreRelease(timerforblinkHandle);
}

/* USER CODE END 4 */

void StartPressBlink(void *argument)
{
  /* USER CODE BEGIN 5 */
  uint16_t msg;
  /* Infinite loop */
  for(;;)
  {
	  osMessageQueueGet(pressforblinkHandle,&msg,NULL,osWaitForever);
	  osMutexAcquire(blinkingHandle,osWaitForever);
	  if(msg == 0){
		  for(int i=0; i<5; i++){
			  HAL_GPIO_TogglePin(GPIOB, LED2_Pin);
			  osDelay(500);
			  HAL_GPIO_TogglePin(GPIOB, LED2_Pin);
			  osDelay(500);
		  }
	  }
	  else if(msg == 1){
		  for(int i=0; i<50; i++){
			  HAL_GPIO_TogglePin(GPIOB, LED2_Pin);
			  osDelay(50);
			  HAL_GPIO_TogglePin(GPIOB, LED2_Pin);
			  osDelay(50);
		  }

	  }
	  osMutexRelease(blinkingHandle);
  }
  /* USER CODE END 5 */
}

void StartTimerBlink(void *argument)
{
  /* USER CODE BEGIN StartTimerBlink */
  /* Infinite loop */
  for(;;)
  {
	  osSemaphoreAcquire(timerforblinkHandle,osWaitForever);
	  osMutexAcquire(blinkingHandle,osWaitForever);
	  for(int i=0; i<20; i++){
		  HAL_GPIO_TogglePin(GPIOB, LED2_Pin);
		  osDelay(50);
		  HAL_GPIO_TogglePin(GPIOB, LED2_Pin);
		  osDelay(50);
	  }
	  osMutexRelease(blinkingHandle);
  }
  /* USER CODE END StartTimerBlink */
}

void StartDetectButton(void *argument)
{
  /* USER CODE BEGIN StartDetectButton */
  /* Infinite loop */
  for(;;)
  {
	  osSemaphoreAcquire(pressdetectHandle,osWaitForever);
	  uint16_t msg;
	  msg = 1;
	  for(int i=0; i<8; i++){
		  osDelay(100);
	  	  if(HAL_GPIO_ReadPin(GPIOC, GPIO_PIN_13) == 1){
	  		  msg = 0;
	  		  break;
	  	  }
	  }
	  osMessageQueuePut(pressforblinkHandle,&msg,0,NULL);
  }
  /* USER CODE END StartDetectButton */
}

void Error_Handler(void)
{
  __disable_irq();
  while (1)
  {
  }
}
